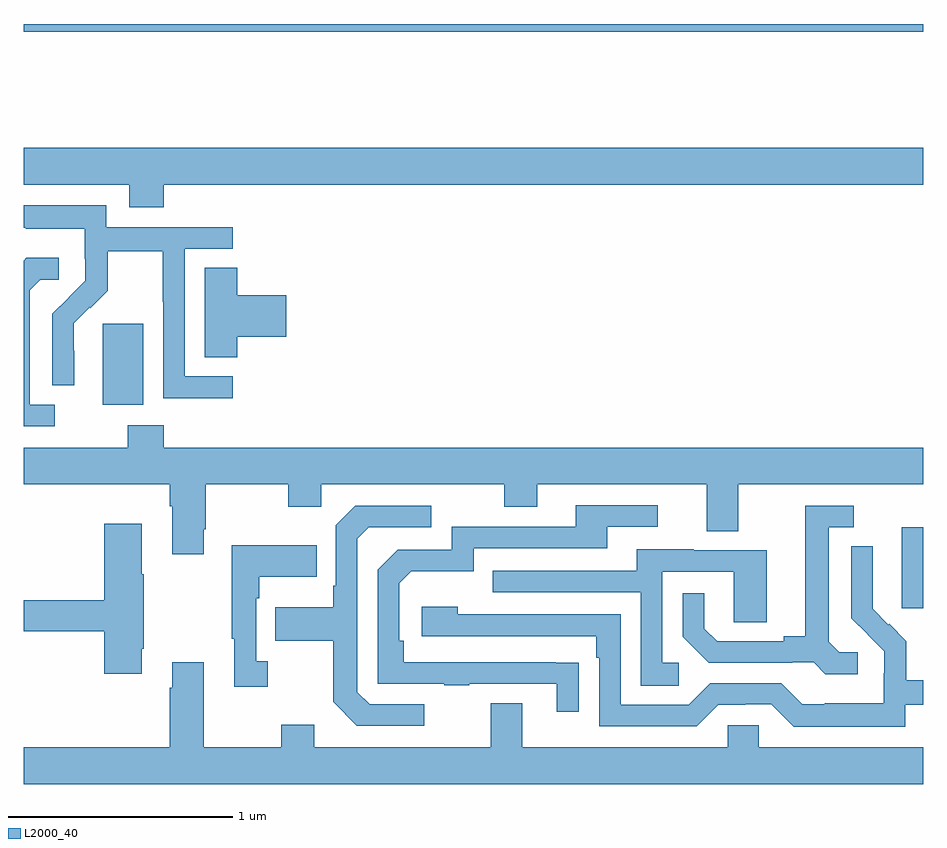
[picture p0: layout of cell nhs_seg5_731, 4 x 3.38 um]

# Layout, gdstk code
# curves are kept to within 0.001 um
import gdstk
lib = gdstk.Library(unit=1e-6, precision=1e-09)
def R(c, l, rs):  # rectangles x0, y0, x1, y1
    for r in rs: c.add(gdstk.rectangle(r[:2], r[2:], *l))
def P(c, l, *ps):  # polygons
    for p in ps: c.add(gdstk.Polygon(p, *l))
L2000_40 = (2000, 40)

nhs_seg5_731 = lib.new_cell('nhs_seg5_731')
R(nhs_seg5_731, L2000_40, [(160.904,864.201,161,864.562), (157.352,865.106,157.531,865.467), (157,866.764,161,866.799)])
P(nhs_seg5_731, L2000_40, [(157.622,866.084),(161,866.084),(161,866.248),(157,866.248),(157,866.084),(157.469,866.084),(157.469,865.985),(157.622,865.985)],
  [(157.93,865.233),(157.716,865.233),(157.716,865.8),(157.93,865.8),(157.93,865.896),(157.368,865.896),(157.368,865.993),(157,865.993),(157,865.893),(157.009,865.893),(157.009,865.889),(157.272,865.889),(157.272,865.755),(157.274,865.755),(157.274,865.658),(157.128,865.51),(157.128,865.192),(157.224,865.192),(157.223,865.469),(157.293,865.539),(157.296,865.536),(157.373,865.613),(157.373,865.788),(157.618,865.788),(157.618,865.564),(157.62,865.564),(157.62,865.135),(157.93,865.135)],
  [(157.138,865.107),(157.027,865.107),(157.027,865.615),(157.074,865.662),(157.156,865.662),(157.156,865.759),(157.012,865.759),(157,865.747),(157,865.011),(157.138,865.011)],
  [(157.949,865.409),(158.167,865.409),(158.167,865.592),(157.949,865.592),(157.949,865.715),(157.805,865.715),(157.805,865.318),(157.949,865.318)],
  [(157.801,864.553),(157.809,864.553),(157.809,864.752),(158.176,864.752),(158.176,864.653),(158.322,864.653),(158.322,864.752),(159.136,864.752),(159.136,864.653),(159.283,864.653),(159.283,864.752),(160.037,864.752),(160.037,864.544),(160.177,864.544),(160.177,864.752),(161,864.752),(161,864.916),(157.622,864.916),(157.622,865.015),(157.462,865.015),(157.462,864.916),(157,864.916),(157,864.752),(157.649,864.752),(157.649,864.656),(157.661,864.656),(157.661,864.441),(157.801,864.441)],
  [(159.467,863.96),(158.69,863.961),(158.69,864.058),(158.67,864.058),(158.67,864.312),(158.723,864.365),(159,864.365),(159,864.468),(159.595,864.468),(159.595,864.564),(159.82,864.564),(159.82,864.66),(159.455,864.66),(159.455,864.564),(158.904,864.564),(158.904,864.462),(158.664,864.462),(158.574,864.372),(158.574,863.865),(158.869,863.865),(158.869,863.86),(158.981,863.86),(158.981,863.865),(159.371,863.865),(159.371,863.742),(159.467,863.742)],
  [(160.708,864.006),(160.626,864.006),(160.579,864.053),(160.579,864.561),(160.69,864.561),(160.69,864.657),(160.475,864.657),(160.475,864.077),(160.379,864.077),(160.379,864.054),(160.084,864.054),(160.027,864.111),(160.027,864.268),(159.93,864.268),(159.93,864.074),(160.046,863.958),(160.418,863.958),(160.418,863.961),(160.512,863.961),(160.564,863.909),(160.708,863.909)],
  [(158.782,863.775),(158.538,863.775),(158.484,863.829),(158.484,864.51),(158.535,864.561),(158.812,864.561),(158.812,864.657),(158.475,864.657),(158.388,864.57),(158.388,864.301),(158.376,864.301),(158.376,864.205),(158.119,864.205),(158.119,864.058),(158.376,864.058),(158.376,863.785),(158.481,863.679),(158.782,863.679)],
  [(157.525,864.022),(157.533,864.022),(157.533,864.353),(157.525,864.353),(157.525,864.577),(157.358,864.577),(157.358,864.236),(157,864.236),(157,864.1),(157.358,864.1),(157.358,863.91),(157.525,863.91)],
  [(158.086,863.966),(158.034,863.966),(158.034,864.245),(158.047,864.245),(158.047,864.341),(158.303,864.341),(158.303,864.481),(157.926,864.481),(157.926,864.065),(157.937,864.065),(157.937,863.853),(158.086,863.853)],
  [(160.92,863.772),(161,863.772),(161,863.881),(160.925,863.881),(160.925,864.055),(160.848,864.132),(160.845,864.129),(160.775,864.2),(160.776,864.476),(160.68,864.476),(160.68,864.158),(160.826,864.01),(160.826,863.913),(160.824,863.913),(160.824,863.779),(160.561,863.779),(160.561,863.775),(160.461,863.775),(160.368,863.868),(160.053,863.868),(159.957,863.772),(159.654,863.772),(159.654,864.174),(158.93,864.174),(158.93,864.208),(158.769,864.208),(158.769,864.078),(159.545,864.078),(159.545,863.981),(159.558,863.981),(159.558,863.676),(159.993,863.676),(160.089,863.772),(160.208,863.772),(160.208,863.775),(160.323,863.775),(160.423,863.675),(160.92,863.675)],
  [(159.913,863.958),(159.84,863.958),(159.84,864.363),(160.158,864.363),(160.158,864.139),(160.303,864.139),(160.303,864.459),(159.979,864.459),(159.979,864.463),(159.725,864.463),(159.725,864.369),(159.085,864.369),(159.085,864.273),(159.744,864.273),(159.744,863.857),(159.913,863.857)],
  [(161,863.584),(160.269,863.584),(160.269,863.682),(160.131,863.682),(160.131,863.584),(159.217,863.584),(159.217,863.779),(159.077,863.779),(159.077,863.584),(158.293,863.584),(158.293,863.683),(158.146,863.683),(158.146,863.584),(157.801,863.584),(157.801,863.962),(157.661,863.962),(157.661,863.849),(157.649,863.849),(157.649,863.584),(157,863.584),(157,863.42),(161,863.42)])

lib.write_gds('nhs_seg5_731.gds')
